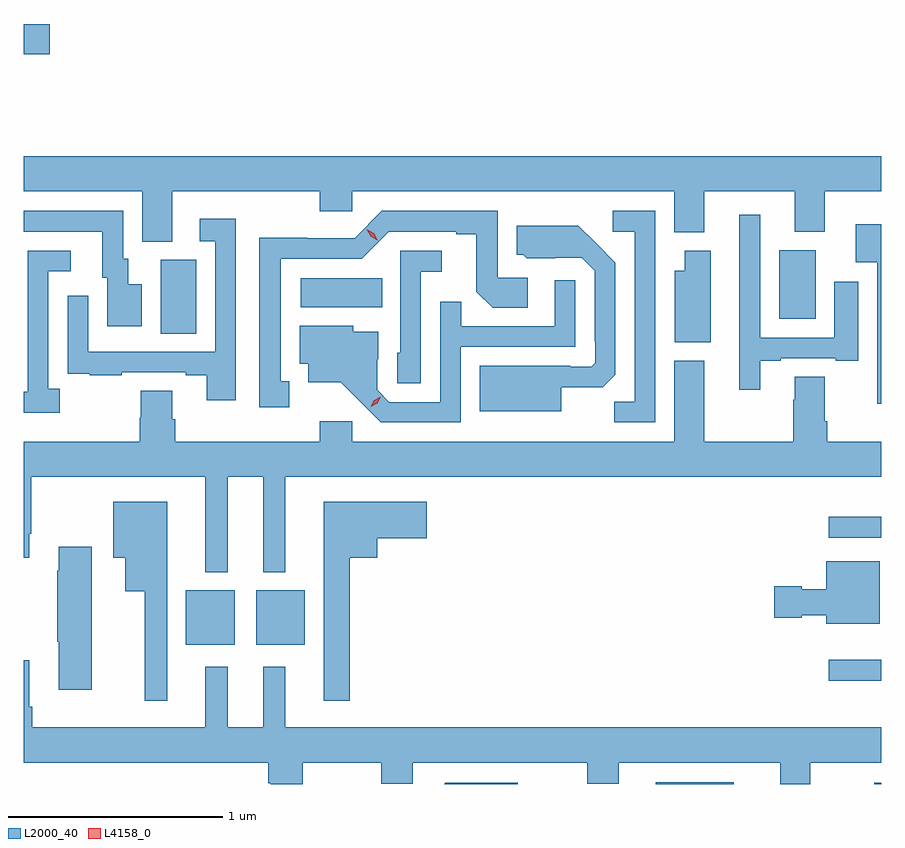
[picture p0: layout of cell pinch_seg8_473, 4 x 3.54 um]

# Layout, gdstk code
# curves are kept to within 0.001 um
import gdstk
lib = gdstk.Library(unit=1e-6, precision=1e-09)
def R(c, l, rs):  # rectangles x0, y0, x1, y1
    for r in rs: c.add(gdstk.rectangle(r[:2], r[2:], *l))
def P(c, l, *ps):  # polygons
    for p in ps: c.add(gdstk.Polygon(p, *l))
L2000_40 = (2000, 40)
L4158_0 = (4158, 0)

pinch_seg8_473 = lib.new_cell('pinch_seg8_473')
R(pinch_seg8_473, L2000_40, [(232.271,1125.724,232.636,1125.732), (233.291,1125.724,233.324,1125.729), (233.079,1126.206,233.324,1126.303), (230.081,1126.373,230.308,1126.627), (230.408,1126.373,230.635,1126.627), (233.079,1126.872,233.324,1126.97), (229.964,1127.824,230.128,1128.168), (232.847,1127.894,233.017,1128.214), (230.616,1127.948,230.996,1128.082), (229.324,1129.126,229.447,1129.268)])
P(pinch_seg8_473, L2000_40, [(230.017,1128.488),(230.705,1128.488),(230.705,1128.395),(230.856,1128.395),(230.856,1128.488),(232.358,1128.488),(232.358,1128.296),(232.498,1128.296),(232.498,1128.488),(232.919,1128.488),(232.919,1128.299),(233.059,1128.299),(233.059,1128.488),(233.324,1128.488),(233.324,1128.652),(229.324,1128.652),(229.324,1128.488),(229.877,1128.488),(229.877,1128.253),(230.017,1128.253)],
  [(229.876,1128.055),(229.813,1128.055),(229.813,1128.174),(229.788,1128.174),(229.788,1128.396),(229.324,1128.396),(229.324,1128.3),(229.691,1128.3),(229.691,1128.084),(229.715,1128.084),(229.715,1127.859),(229.876,1127.859)],
  [(232.269,1128.396),(232.071,1128.396),(232.071,1128.3),(232.173,1128.3),(232.173,1127.507),(232.078,1127.507),(232.078,1127.412),(232.269,1127.412)],
  [(230.563,1127.601),(230.524,1127.601),(230.524,1128.174),(230.901,1128.174),(231.027,1128.3),(231.341,1128.3),(231.341,1128.288),(231.435,1128.288),(231.435,1128.02),(231.511,1127.944),(231.676,1127.944),(231.676,1128.084),(231.534,1128.084),(231.534,1128.396),(230.994,1128.396),(230.868,1128.27),(230.646,1128.27),(230.646,1128.272),(230.423,1128.272),(230.423,1127.481),(230.563,1127.481)],
  [(232.759,1127.697),(232.855,1127.697),(232.855,1127.709),(233.111,1127.709),(233.111,1127.697),(233.215,1127.697),(233.215,1128.067),(233.105,1128.067),(233.105,1127.805),(232.758,1127.805),(232.758,1128.379),(232.661,1128.379),(232.661,1127.562),(232.759,1127.562)],
  [(230.313,1128.361),(230.145,1128.361),(230.145,1128.255),(230.217,1128.255),(230.217,1127.739),(229.626,1127.739),(229.626,1128.001),(229.53,1128.001),(229.53,1127.746),(229.531,1127.746),(229.531,1127.637),(229.633,1127.637),(229.633,1127.631),(229.781,1127.631),(229.781,1127.643),(230.081,1127.643),(230.081,1127.631),(230.177,1127.631),(230.177,1127.514),(230.313,1127.514)],
  [(233.324,1128.334),(233.204,1128.334),(233.204,1128.158),(233.304,1128.158),(233.304,1127.498),(233.324,1127.498)],
  [(231.832,1127.573),(232.024,1127.573),(232.083,1127.632),(232.083,1128.154),(231.911,1128.328),(231.623,1128.328),(231.623,1128.192),(231.654,1128.192),(231.67,1128.176),(231.927,1128.177),(231.987,1128.117),(231.987,1127.788),(231.99,1127.788),(231.99,1127.688),(231.972,1127.67),(231.872,1127.67),(231.872,1127.674),(231.452,1127.674),(231.452,1127.462),(231.832,1127.462)],
  [(232.528,1128.211),(232.406,1128.211),(232.406,1128.118),(232.361,1128.118),(232.361,1127.783),(232.528,1127.783)],
  [(229.492,1127.566),(229.44,1127.566),(229.44,1128.114),(229.543,1128.114),(229.543,1128.21),(229.344,1128.21),(229.344,1127.753),(229.343,1127.753),(229.343,1127.553),(229.324,1127.553),(229.324,1127.456),(229.492,1127.456)],
  [(231.177,1128.113),(231.274,1128.113),(231.274,1128.21),(231.081,1128.21),(231.081,1127.736),(231.066,1127.736),(231.066,1127.593),(231.177,1127.593)],
  [(231.363,1127.763),(231.897,1127.763),(231.897,1128.073),(231.801,1128.073),(231.801,1127.859),(231.365,1127.859),(231.365,1127.972),(231.267,1127.972),(231.267,1127.505),(231.03,1127.505),(230.973,1127.562),(230.973,1127.704),(230.977,1127.704),(230.977,1127.833),(230.862,1127.833),(230.862,1127.86),(230.612,1127.86),(230.612,1127.684),(230.651,1127.684),(230.651,1127.597),(230.803,1127.597),(230.99,1127.412),(231.363,1127.412)],
  [(230.275,1127.156),(230.441,1127.156),(230.441,1126.712),(230.545,1126.712),(230.545,1127.156),(233.324,1127.156),(233.324,1127.32),(233.072,1127.32),(233.072,1127.416),(233.059,1127.416),(233.059,1127.624),(232.919,1127.624),(232.919,1127.516),(232.912,1127.516),(232.912,1127.32),(232.498,1127.32),(232.498,1127.698),(232.358,1127.698),(232.358,1127.32),(230.856,1127.32),(230.856,1127.416),(230.705,1127.416),(230.705,1127.32),(230.03,1127.32),(230.03,1127.426),(230.017,1127.426),(230.017,1127.558),(229.87,1127.558),(229.87,1127.433),(229.865,1127.433),(229.865,1127.32),(229.324,1127.32),(229.324,1126.779),(229.351,1126.779),(229.351,1126.891),(229.359,1126.891),(229.359,1127.156),(230.171,1127.156),(230.171,1126.712),(230.275,1126.712)],
  [(229.993,1127.041),(229.742,1127.041),(229.742,1126.778),(229.799,1126.778),(229.799,1126.622),(229.889,1126.622),(229.889,1126.113),(229.993,1126.113)],
  [(230.845,1126.778),(230.974,1126.778),(230.974,1126.871),(231.205,1126.871),(231.205,1127.041),(230.723,1127.041),(230.723,1126.113),(230.845,1126.113)],
  [(229.642,1126.831),(229.487,1126.831),(229.487,1126.718),(229.48,1126.718),(229.48,1126.387),(229.487,1126.387),(229.487,1126.164),(229.642,1126.164)],
  [(233.317,1126.762),(233.066,1126.762),(233.066,1126.633),(232.953,1126.633),(232.953,1126.646),(232.824,1126.646),(232.824,1126.499),(232.953,1126.499),(232.953,1126.511),(233.066,1126.511),(233.066,1126.472),(233.317,1126.472)],
  [(230.545,1126.27),(230.441,1126.27),(230.441,1125.988),(230.275,1125.988),(230.275,1126.27),(230.171,1126.27),(230.171,1125.988),(229.364,1125.988),(229.364,1126.084),(229.351,1126.084),(229.351,1126.3),(229.324,1126.3),(229.324,1125.824),(230.465,1125.824),(230.465,1125.728),(230.477,1125.728),(230.477,1125.724),(230.625,1125.724),(230.625,1125.824),(230.992,1125.824),(230.992,1125.725),(231.138,1125.725),(231.138,1125.824),(231.952,1125.824),(231.952,1125.725),(232.099,1125.725),(232.099,1125.824),(232.853,1125.824),(232.853,1125.724),(232.993,1125.724),(232.993,1125.824),(233.324,1125.824),(233.324,1125.988),(230.545,1125.988)],
  [(231.628,1125.729),(231.291,1125.729),(231.286,1125.724),(231.628,1125.724)])
P(pinch_seg8_473, L4158_0, [(230.942,1127.483),(230.942,1127.483),(230.959,1127.513),(230.989,1127.53),(230.99,1127.53),(230.99,1127.529),(230.973,1127.499),(230.942,1127.483)],
  [(230.974,1128.26),(230.942,1128.279),(230.924,1128.312),(230.924,1128.312),(230.925,1128.312),(230.956,1128.293),(230.974,1128.261),(230.974,1128.26)])

lib.write_gds('pinch_seg8_473.gds')
